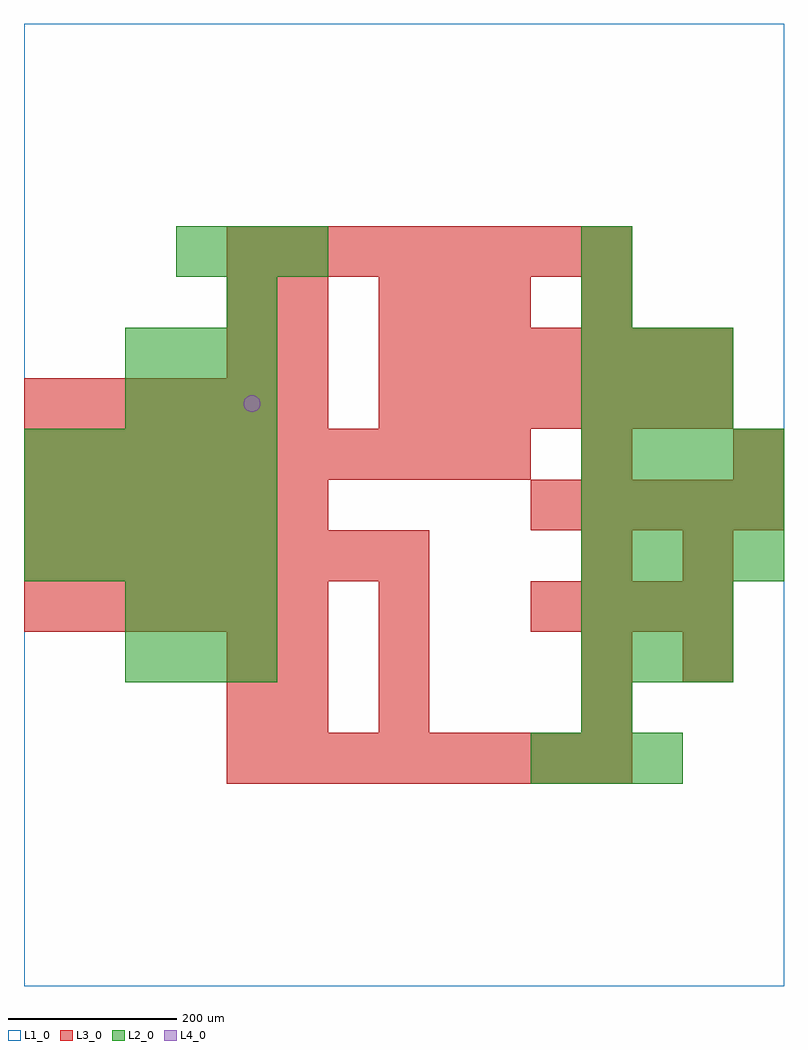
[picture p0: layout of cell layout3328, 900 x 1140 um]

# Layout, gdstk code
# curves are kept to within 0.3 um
import gdstk
lib = gdstk.Library(unit=1e-6, precision=1e-09)
def R(c, l, rs):  # rectangles x0, y0, x1, y1
    for r in rs: c.add(gdstk.rectangle(r[:2], r[2:], *l))
def A(c, l, x, y, w, h, nx, ny, dx, dy):  # array of equal rectangles
    R(c, l, [(x+i*dx, y+j*dy, x+i*dx+w, y+j*dy+h) for i in range(nx) for j in range(ny)])
def P(c, l, *ps):  # polygons
    for p in ps: c.add(gdstk.Polygon(p, *l))
L1_0 = (1, 0)
L2_0 = (2, 0)
L3_0 = (3, 0)
L4_0 = (4, 0)

layout3328 = lib.new_cell('layout3328')
R(layout3328, L1_0, [(0,0,900,1140)])
A(layout3328, L2_0, 600, 240, 60, 60, 3, 1, 60, 0)
A(layout3328, L2_0, 120, 360, 60, 60, 3, 2, 60, 60)
A(layout3328, L2_0, 660, 360, 60, 60, 3, 2, 60, 60)
A(layout3328, L2_0, 0, 480, 60, 60, 5, 3, 60, 60)
A(layout3328, L2_0, 660, 480, 60, 60, 4, 3, 60, 60)
A(layout3328, L2_0, 120, 660, 60, 60, 3, 2, 60, 60)
A(layout3328, L2_0, 660, 660, 60, 60, 3, 2, 60, 60)
A(layout3328, L2_0, 180, 840, 60, 60, 3, 1, 60, 0)
R(layout3328, L2_0, [(660,300,720,360), (240,780,300,840), (660,780,720,840), (660,840,720,900)])
A(layout3328, L3_0, 240, 240, 60, 60, 8, 2, 60, 600)
A(layout3328, L3_0, 420, 300, 60, 60, 1, 3, 0, 60)
A(layout3328, L3_0, 660, 360, 60, 60, 1, 3, 0, 120)
A(layout3328, L3_0, 0, 420, 60, 60, 6, 3, 60, 120)
A(layout3328, L3_0, 600, 420, 60, 60, 4, 1, 60, 0)
A(layout3328, L3_0, 0, 480, 60, 60, 8, 1, 60, 0)
A(layout3328, L3_0, 600, 540, 60, 60, 5, 1, 60, 0)
A(layout3328, L3_0, 0, 600, 60, 60, 10, 1, 60, 0)
A(layout3328, L3_0, 420, 660, 60, 60, 7, 2, 60, 60)
A(layout3328, L3_0, 420, 780, 60, 60, 3, 1, 60, 0)
R(layout3328, L3_0, [(240,300,300,360), (300,300,360,360), (660,300,720,360), (240,360,300,420), (300,360,360,420), (780,360,840,420), (780,480,840,540), (840,600,900,660), (240,720,300,780), (300,720,360,780), (240,780,300,840), (300,780,360,840), (660,780,720,840)])
P(layout3328, L4_0, [(280,690),(279.239,693.827),(277.071,697.071),(273.827,699.239),(270,700),(266.173,699.239),(262.929,697.071),(260.761,693.827),(260,690),(260.761,686.173),(262.929,682.929),(266.173,680.761),(270,680),(273.827,680.761),(277.071,682.929),(279.239,686.173)])

lib.write_gds('layout3328.gds')
